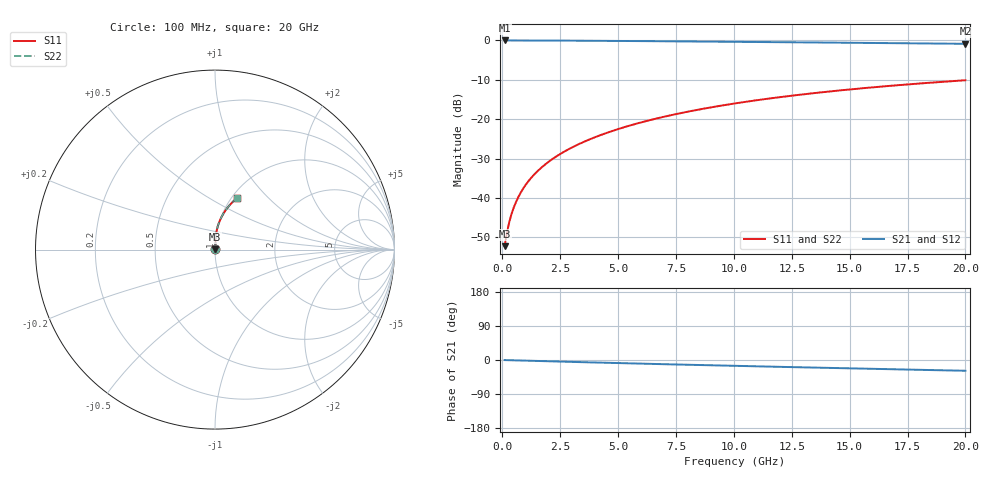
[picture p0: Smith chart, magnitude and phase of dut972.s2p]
! Touchstone file exported from HFSS 2024.1.0
!  File:  C:/UserFiles/LocalFiles/RDL_TSV_Batchsim/temp_RDL_bottom_972_1779943065.aedt
!  Generated:  12:40:39 PM May 28, 2026
!  Design:  RDL_bottom
!  Project:  temp_RDL_bottom_972_1779943065
!  Setup:  Setup1
!  Solution:  Sweep
! Variables:
!  dtsv = 10.80580581um
!  hbump = 3um
!  htsv = 52.99um
!  ldown = 349.75um
!  lrdl = 100um
!  p = 40
!  p1 = 58.67um
!  rhole = 1um
!  t = 450um
!  tdown = 3.26um
!  trdl = 3.915915916um
!  wdown = 22.69um
!  wrdl = 20um
# GHz S MA R 50.000000
! Terminal data exported
! Port[1] = RDL1_T1
! Port[2] = RDL1_T2
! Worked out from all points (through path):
!   200 points, 100 MHz to 20 GHz, reference 50 ohm
!   highest |S21| = -0.02 dB at 100 MHz (marker M1); lowest = -0.9 dB at 20 GHz (marker M2)
!   group delay of S21, straight-line fit = 3.9 ps
!   lowest |S11| = -52.2 dB at 100 MHz (marker M3), VSWR 1.00, Z = 50.2 + j0.154 ohm
!   |S11| at or under -10 dB: start of sweep to end of sweep
!   |S22| runs from -52.2 to -10.1 dB; largest |S21 - S12| = 7.4e-15
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0.1  0.002444 38.8  0.9981 -0.2  0.9981 -0.2  0.002444 38.8
! Gamma 0 0 0 0
! Port Impedance 50 0 50 0
0.2  0.003616 56.9  0.998 -0.3  0.998 -0.3  0.003616 56.9
0.3  0.004931 65.4  0.9979 -0.5  0.9979 -0.5  0.004931 65.4
0.4  0.006276 70.2  0.9978 -0.7  0.9978 -0.7  0.006276 70.2
0.5  0.007631 73.4  0.9976 -0.9  0.9976 -0.9  0.007631 73.4
0.6  0.008994 75.7  0.9975 -1.0  0.9975 -1.0  0.008994 75.7
0.8  0.01174 78.9  0.9973 -1.4  0.9973 -1.4  0.01174 78.9
1.1  0.01592 81.7  0.9969 -1.9  0.9969 -1.9  0.01592 81.7
1.5  0.02158 83.9  0.9962 -2.5  0.9962 -2.5  0.02158 83.9
1.8  0.02589 84.9  0.9956 -3.0  0.9956 -3.0  0.02589 84.9
2.1  0.03024 85.6  0.9949 -3.5  0.9949 -3.5  0.03024 85.6
2.7  0.0391 86.5  0.9932 -4.5  0.9932 -4.5  0.0391 86.5
3.5  0.05122 86.9  0.9905 -5.8  0.9905 -5.8  0.05122 86.9
4.2  0.0621 86.9  0.9877 -6.9  0.9877 -6.9  0.0621 86.9
5  0.07483 86.6  0.9843 -8.1  0.9843 -8.1  0.07483 86.6
5.9  0.08945 86.0  0.9801 -9.5  0.9801 -9.5  0.08945 86.0
6.8  0.1043 85.1  0.9758 -10.8  0.9758 -10.8  0.1043 85.1
8.4  0.131 83.2  0.9678 -13.1  0.9678 -13.1  0.131 83.2
10.1  0.1593 80.9  0.9591 -15.5  0.9591 -15.5  0.1593 80.9
13.4  0.2131 76.2  0.9418 -20.0  0.9418 -20.0  0.2131 76.2
16.7  0.2642 71.4  0.9239 -24.2  0.9239 -24.2  0.2642 71.4
20  0.3119 66.9  0.9051 -28.4  0.9051 -28.4  0.3119 66.9
